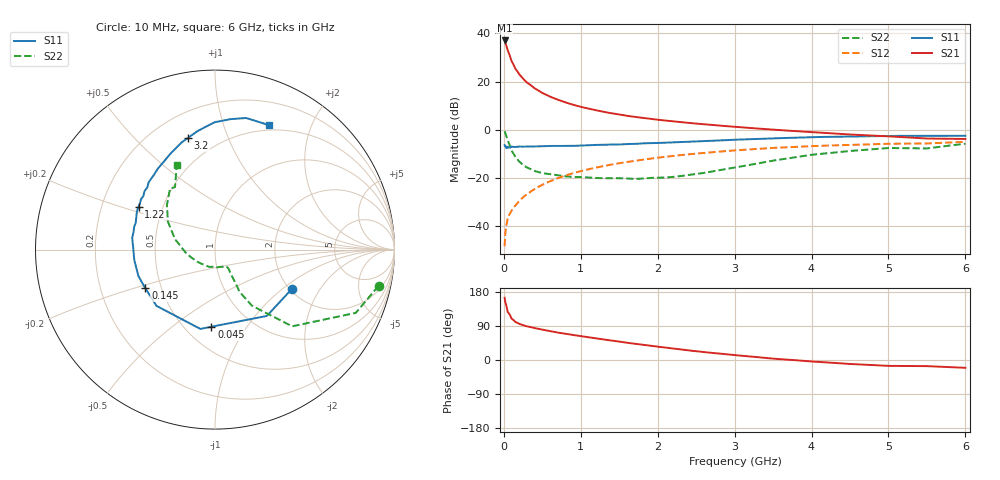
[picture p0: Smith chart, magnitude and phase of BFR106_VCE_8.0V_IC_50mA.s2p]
! Infineon Technologies  Discrete & RF Semiconductors
! BFR106
! VCE =  8.0 V,  IC =  50 mA
! Common Emitter S-Parameters:  Nov 2015
# GHz  S  MA  R  50
!  f  S11  S21  S12  S22
! GHz  MAG  ANG  MAG  ANG  MAG  ANG  MAG  ANG
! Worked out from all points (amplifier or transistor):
!   210 points, 10 MHz to 6 GHz, reference 50 ohm
!   highest |S21| = 37.1 dB at 10 MHz (marker M1)
!   |S21| within 3 dB of that: start of sweep to 39.66 MHz
!   unconditionally stable (mu >= 1): 266.9 MHz to 2.286 GHz
!   at 185 MHz: K = 0.91, MSG = 26.9 dB, |S12| = -30.0 dB
!   at 1.52 GHz: K = 1.05, MAG = 8.6 dB, |S12| = -13.7 dB
!   at 6 GHz: K = 0.98, MSG = 0.6 dB, |S12| = -4.9 dB
!   S11 on the Smith chart (normalised r, x): 10 MHz: 2.05, -1.17; 45 MHz: 0.66, -0.70; 145 MHz: 0.41, -0.22; 1.22 GHz: 0.36, +0.23; 3.2 GHz: 0.35, +0.73; 6 GHz: 0.44, +1.43
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0.01  0.4809 -27.2  71.33 164.3  0.0039 81.6  0.9333 -12.5
0.02  0.4691 -52.0  64.94 151.9  0.0074 73.3  0.8599 -24.2
0.045  0.4302 -92.7  47.32 132.4  0.0133 61.8  0.6416 -40.3
0.05  0.4493 -100.5  44.75 126.8  0.0145 60.6  0.6066 -44.8
0.1  0.4525 -136.2  26.84 109.1  0.0214 59.3  0.3748 -56.6
0.145  0.4436 -150.9  19.38 101.5  0.0266 62.4  0.2831 -59.4
0.15  0.4445 -152.6  18.58 100.3  0.0272 62.7  0.273 -59.8
0.2  0.4514 -161.1  14.24 95.4  0.0335 65.9  0.2213 -58.5
0.24  0.4498 -166.1  12 92.4  0.0389 67.6  0.1924 -58.0
0.3  0.4534 -172.4  9.601 88.8  0.0463 69.5  0.167 -57.5
0.4  0.4534 -178.6  7.276 84.2  0.0594 70.9  0.1406 -55.6
0.5  0.4589 176.3  5.832 80.0  0.0728 71.3  0.1272 -54.2
0.6  0.4661 171.8  4.894 76.1  0.0863 71.4  0.1208 -55.0
0.8  0.4677 164.4  3.707 69.3  0.1134 69.7  0.109 -58.4
1.02  0.4764 156.7  2.954 62.4  0.1424 67.4  0.1053 -64.3
1.22  0.489 150.6  2.51 56.3  0.1684 65.0  0.1006 -72.2
2.02  0.5374 129.3  1.611 34.7  0.2677 54.2  0.1021 -117.2
3.1  0.6326 105.4  1.127 11.1  0.3849 38.6  0.1768 180.0
3.2  0.6405 103.5  1.096 9.4  0.3943 37.1  0.189 175.5
4.1  0.713 88.8  0.878 -5.1  0.4677 23.9  0.316 146.5
5.1  0.7526 75.5  0.721 -15.6  0.5171 11.0  0.4199 125.7
6  0.7558 66.7  0.649 -20.6  0.5661 1.0  0.5174 114.3
